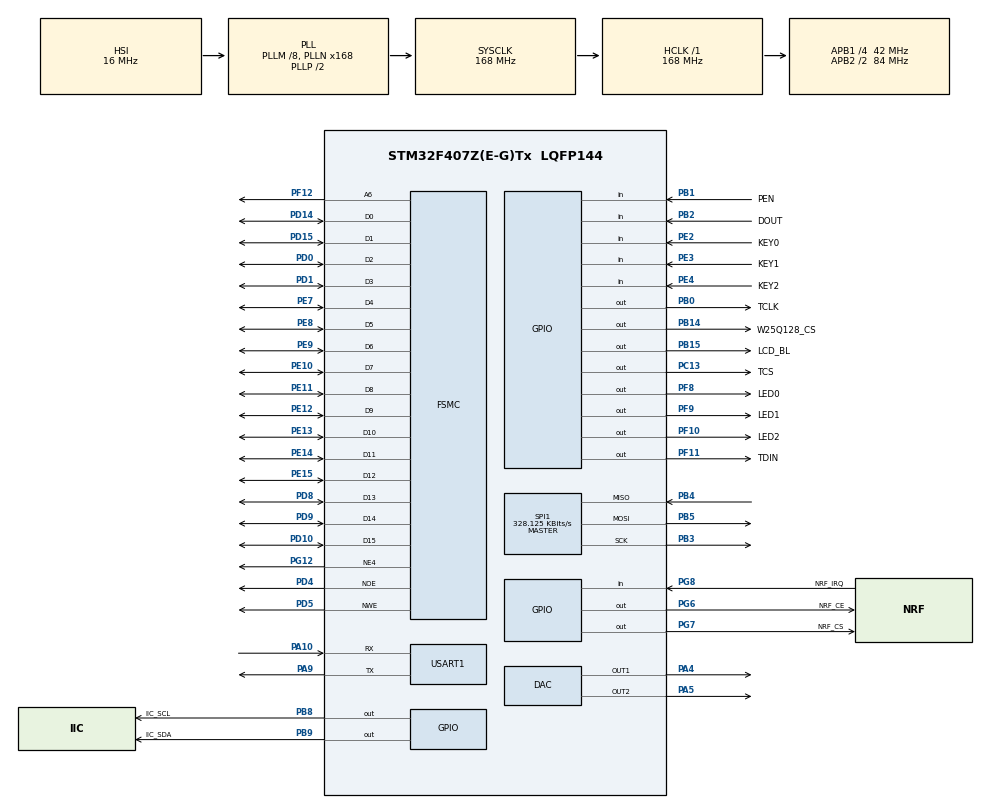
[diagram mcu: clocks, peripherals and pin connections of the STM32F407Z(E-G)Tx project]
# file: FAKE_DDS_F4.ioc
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FSMC.AddressSetupTime1=0x0f
FSMC.BusTurnAroundDuration1=0
FSMC.DataSetupTime1=60
FSMC.ExtendedAddressSetupTime1=9
FSMC.ExtendedBusTurnAroundDuration1=0
FSMC.ExtendedDataSetupTime1=8
FSMC.ExtendedMode1=FSMC_EXTENDED_MODE_ENABLE
Mcu.Family=STM32F4
Mcu.Name=STM32F407Z(E-G)Tx
Mcu.Package=LQFP144
NVIC.PriorityGroup=NVIC_PRIORITYGROUP_2
NVIC.TIM2_IRQn=true\:0\:0\:true\:false\:true\:true\:true
NVIC.TIM3_IRQn=true\:3\:0\:true\:false\:true\:true\:true
PA10.Mode=Asynchronous
PA10.Signal=USART1_RX
PA13.Mode=Serial_Wire
PA13.Signal=SYS_JTMS-SWDIO
PA14.Mode=Serial_Wire
PA14.Signal=SYS_JTCK-SWCLK
PA4.Signal=COMP_DAC1_group
PA5.Signal=COMP_DAC2_group
PA9.Mode=Asynchronous
PA9.Signal=USART1_TX
PB0.GPIO_Label=TCLK
PB0.GPIO_PuPd=GPIO_PULLUP
PB0.GPIO_Speed=GPIO_SPEED_FREQ_VERY_HIGH
PB0.Signal=GPIO_Output
PB1.GPIO_Label=PEN
PB1.GPIO_PuPd=GPIO_PULLUP
PB1.Signal=GPIO_Input
PB14.GPIO_Label=W25Q128_CS
PB14.GPIO_PuPd=GPIO_PULLUP
PB14.GPIO_Speed=GPIO_SPEED_FREQ_VERY_HIGH
PB14.PinState=GPIO_PIN_SET
PB14.Signal=GPIO_Output
PB15.GPIO_Label=LCD_BL
PB15.GPIO_PuPd=GPIO_PULLUP
PB15.GPIO_Speed=GPIO_SPEED_FREQ_MEDIUM
PB15.Signal=GPIO_Output
PB2.GPIO_Label=DOUT
PB2.GPIO_PuPd=GPIO_PULLUP
PB2.Signal=GPIO_Input
PB3.GPIO_PuPd=GPIO_PULLUP
PB3.GPIO_Speed=GPIO_SPEED_FREQ_VERY_HIGH
PB3.Mode=Full_Duplex_Master
PB3.Signal=SPI1_SCK
PB4.GPIO_PuPd=GPIO_PULLUP
PB4.GPIO_Speed=GPIO_SPEED_FREQ_VERY_HIGH
PB4.Mode=Full_Duplex_Master
PB4.Signal=SPI1_MISO
PB5.GPIO_PuPd=GPIO_PULLUP
PB5.GPIO_Speed=GPIO_SPEED_FREQ_VERY_HIGH
PB5.Mode=Full_Duplex_Master
PB5.Signal=SPI1_MOSI
PB8.GPIO_Label=IIC_SCL
PB8.GPIO_PuPd=GPIO_PULLUP
PB8.GPIO_Speed=GPIO_SPEED_FREQ_VERY_HIGH
PB8.Signal=GPIO_Output
PB9.GPIO_Label=IIC_SDA
PB9.GPIO_PuPd=GPIO_PULLUP
PB9.GPIO_Speed=GPIO_SPEED_FREQ_VERY_HIGH
PB9.Signal=GPIO_Output
PC13-ANTI_TAMP.GPIO_Label=TCS
PC13-ANTI_TAMP.GPIO_PuPd=GPIO_NOPULL
PC13-ANTI_TAMP.Signal=GPIO_Output
PD0.GPIO_PuPd=GPIO_PULLUP
PD0.GPIO_Speed_High_Default=GPIO_SPEED_FREQ_VERY_HIGH
PD0.Signal=FSMC_D2_DA2
PD1.GPIO_PuPd=GPIO_PULLUP
PD1.Signal=FSMC_D3_DA3
PD10.GPIO_PuPd=GPIO_PULLUP
PD10.Signal=FSMC_D15_DA15
PD14.GPIO_PuPd=GPIO_PULLUP
PD14.Signal=FSMC_D0_DA0
PD15.GPIO_PuPd=GPIO_PULLUP
PD15.Signal=FSMC_D1_DA1
PD4.GPIO_PuPd=GPIO_PULLUP
PD4.Signal=FSMC_NOE
PD5.GPIO_PuPd=GPIO_PULLUP
PD5.Signal=FSMC_NWE
PD8.GPIO_PuPd=GPIO_PULLUP
PD8.Signal=FSMC_D13_DA13
PD9.GPIO_PuPd=GPIO_PULLUP
PD9.Signal=FSMC_D14_DA14
PE10.GPIO_PuPd=GPIO_PULLUP
PE10.Signal=FSMC_D7_DA7
PE11.GPIO_PuPd=GPIO_PULLUP
PE11.Signal=FSMC_D8_DA8
PE12.GPIO_PuPd=GPIO_PULLUP
PE12.Signal=FSMC_D9_DA9
PE13.GPIO_PuPd=GPIO_PULLUP
PE13.Signal=FSMC_D10_DA10
PE14.GPIO_PuPd=GPIO_PULLUP
PE14.Signal=FSMC_D11_DA11
PE15.GPIO_PuPd=GPIO_PULLUP
PE15.Signal=FSMC_D12_DA12
PE2.GPIO_Label=KEY0
PE2.GPIO_PuPd=GPIO_PULLUP
PE2.Signal=GPIO_Input
PE3.GPIO_Label=KEY1
PE3.GPIO_PuPd=GPIO_PULLUP
PE3.Signal=GPIO_Input
PE4.GPIO_Label=KEY2
PE4.GPIO_PuPd=GPIO_PULLUP
PE4.Signal=GPIO_Input
PE7.GPIO_PuPd=GPIO_PULLUP
PE7.Signal=FSMC_D4_DA4
PE8.GPIO_PuPd=GPIO_PULLUP
PE8.Signal=FSMC_D5_DA5
PE9.GPIO_PuPd=GPIO_PULLUP
PE9.Signal=FSMC_D6_DA6
PF10.GPIO_Label=LED2
PF10.GPIO_PuPd=GPIO_PULLUP
PF10.GPIO_Speed=GPIO_SPEED_FREQ_VERY_HIGH
PF10.PinState=GPIO_PIN_SET
PF10.Signal=GPIO_Output
PF11.GPIO_Label=TDIN
PF11.GPIO_Speed=GPIO_SPEED_FREQ_VERY_HIGH
PF11.Signal=GPIO_Output
PF12.GPIO_PuPd=GPIO_PULLUP
PF12.Signal=FSMC_A6
PF8.GPIO_Label=LED0
PF8.GPIO_PuPd=GPIO_PULLUP
PF8.GPIO_Speed=GPIO_SPEED_FREQ_VERY_HIGH
PF8.PinState=GPIO_PIN_SET
PF8.Signal=GPIO_Output
PF9.GPIO_Label=LED1
PF9.GPIO_PuPd=GPIO_PULLUP
PF9.GPIO_Speed=GPIO_SPEED_FREQ_VERY_HIGH
PF9.PinState=GPIO_PIN_SET
PF9.Signal=GPIO_Output
PG12.GPIO_PuPd=GPIO_PULLUP
PG12.Mode=NorPsramChipSelect4_1
PG12.Signal=FSMC_NE4
PG6.GPIO_Label=NRF_CE
PG6.GPIO_PuPd=GPIO_PULLUP
PG6.GPIO_Speed=GPIO_SPEED_FREQ_VERY_HIGH
PG6.Signal=GPIO_Output
PG7.GPIO_Label=NRF_CS
PG7.GPIO_PuPd=GPIO_PULLUP
PG7.GPIO_Speed=GPIO_SPEED_FREQ_VERY_HIGH
PG7.Signal=GPIO_Output
PG8.GPIO_Label=NRF_IRQ
PG8.GPIO_PuPd=GPIO_PULLUP
PG8.Signal=GPIO_Input
PH0-OSC_IN.Mode=HSE-External-Oscillator
PH0-OSC_IN.Signal=RCC_OSC_IN
PH1-OSC_OUT.Mode=HSE-External-Oscillator
PH1-OSC_OUT.Signal=RCC_OSC_OUT
ProjectManager.HeapSize=0x200
ProjectManager.StackSize=0x400
ProjectManager.TargetToolchain=MDK-ARM V5.27
RCC.48MHZClocksFreq_Value=84000000
RCC.AHBFreq_Value=168000000
RCC.APB1CLKDivider=RCC_HCLK_DIV4
RCC.APB1Freq_Value=42000000
RCC.APB1TimFreq_Value=84000000
RCC.APB2CLKDivider=RCC_HCLK_DIV2
RCC.APB2Freq_Value=84000000
RCC.APB2TimFreq_Value=168000000
RCC.CortexFreq_Value=168000000
RCC.HCLKFreq_Value=168000000
RCC.HSE_VALUE=25000000
RCC.HSI_VALUE=16000000
RCC.LSE_VALUE=32768
RCC.PLLM=8
RCC.PLLN=168
RCC.SYSCLKFreq_VALUE=168000000
RCC.SYSCLKSource=RCC_SYSCLKSOURCE_PLLCLK
RCC.VCOOutputFreq_Value=336000000
SH.COMP_DAC1_group.0=DAC_OUT1,DAC_OUT1
SH.COMP_DAC2_group.0=DAC_OUT2,DAC_OUT2
SH.FSMC_A6.0=FSMC_A6,A6_1
SH.FSMC_D0_DA0.0=FSMC_D0,16b-d1
SH.FSMC_D10_DA10.0=FSMC_D10,16b-d1
SH.FSMC_D11_DA11.0=FSMC_D11,16b-d1
SH.FSMC_D12_DA12.0=FSMC_D12,16b-d1
SH.FSMC_D13_DA13.0=FSMC_D13,16b-d1
SH.FSMC_D14_DA14.0=FSMC_D14,16b-d1
SH.FSMC_D15_DA15.0=FSMC_D15,16b-d1
SH.FSMC_D1_DA1.0=FSMC_D1,16b-d1
SH.FSMC_D2_DA2.0=FSMC_D2,16b-d1
SH.FSMC_D3_DA3.0=FSMC_D3,16b-d1
SH.FSMC_D4_DA4.0=FSMC_D4,16b-d1
SH.FSMC_D5_DA5.0=FSMC_D5,16b-d1
SH.FSMC_D6_DA6.0=FSMC_D6,16b-d1
SH.FSMC_D7_DA7.0=FSMC_D7,16b-d1
SH.FSMC_D8_DA8.0=FSMC_D8,16b-d1
SH.FSMC_D9_DA9.0=FSMC_D9,16b-d1
SH.FSMC_NOE.0=FSMC_NOE,Lcd1
SH.FSMC_NWE.0=FSMC_NWE,Lcd1
SPI1.BaudRatePrescaler=SPI_BAUDRATEPRESCALER_256
SPI1.CLKPhase=SPI_PHASE_2EDGE
SPI1.CLKPolarity=SPI_POLARITY_HIGH
SPI1.CalculateBaudRate=328.125 KBits/s
SPI1.Direction=SPI_DIRECTION_2LINES
SPI1.Mode=SPI_MODE_MASTER
SPI1.VirtualType=VM_MASTER
TIM2.AutoReloadPreload=TIM_AUTORELOAD_PRELOAD_ENABLE
TIM2.Period=8-1
TIM2.Prescaler=21-1
TIM3.Period=100-1
TIM3.Prescaler=8400-1
USART1.VirtualMode=VM_ASYNC
VP_TIM2_VS_ClockSourceINT.Mode=Internal
VP_TIM3_VS_ClockSourceINT.Mode=Internal
board=custom

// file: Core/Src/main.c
/* USER CODE BEGIN Header */
/**
  ******************************************************************************
  * @file           : main.c
  * @brief          : Main program body
  ******************************************************************************
  * @attention
  *
  * <h2><center>&copy; Copyright (c) 2021 STMicroelectronics.
  * All rights reserved.</center></h2>
  *
  * This software component is licensed by ST under BSD 3-Clause license,
  * the "License"; You may not use this file except in compliance with the
  * License. You may obtain a copy of the License at:
  *                        opensource.org/licenses/BSD-3-Clause
  *
  ******************************************************************************
  */
/* USER CODE END Header */
#include "main.h"
#include "dac.h"
#include "spi.h"
#include "tim.h"
#include "usart.h"
#include "gpio.h"
#include "fsmc.h"

/* USER CODE BEGIN Includes */
#include "lcd.h"
#include "touch.h"
#include "24l01.h"
/* USER CODE END Includes */

void SystemClock_Config(void);
/* USER CODE BEGIN PFP */
/* 锟�?娴�?槸鍚�?�?���?��鍩熸寜锟�?? */
u8 TP_CHECK(u16 x0, u16 y0, u16 x1, u16 y1);
void DAC_VAL_Change(void);
void AMP_MUL_Change(void);
/* USER CODE END PFP */

/* USER CODE BEGIN 0 */
extern uint8_t DAC_STA;
extern uint8_t DAC_FRE;
extern uint8_t DAC_VAL;
// extern uint8_t AMP_MUL;
extern uint32_t TimeOffset;
extern uint16_t Wavetable[];
extern uint16_t Sin[];
extern uint16_t pressTime;
extern float FRE_Compensate[];
uint8_t presStatus = 0; //璁板綍瑙︽懜灞忕殑鎸変笅�?��喌锛�?敤浜庨槻姝㈣繛锟�??
uint16_t PRE_DAC_VAL;
uint8_t RX_BUF = 0;
uint8_t RNF24L01_STA = 0; //RNF24L01_STA״̬ 0-δ���� 1-���ͳɹ� 2-����ʧ��
int8_t DAC_CD = 1;       //DAC_CD�ı䷽��
// uint8_t PRE_AMP_MUL;
/* USER CODE END 0 */

int main(void)
{
  /* USER CODE BEGIN 1 */
  uint8_t LAST_RNF24L01_STA = 0;
	uint8_t i,temp;
  // PRE_AMP_MUL = AMP_MUL;
  /* USER CODE END 1 */

  /* MCU Configuration--------------------------------------------------------*/

  /* Reset of all peripherals, Initializes the Flash interface and the Systick. */
  HAL_Init();

  /* Configure the system clock */
  SystemClock_Config();

  /* Initialize all configured peripherals */
  MX_GPIO_Init();
  MX_DAC_Init();
  MX_USART1_UART_Init();
  MX_TIM2_Init();
  MX_FSMC_Init();
  MX_TIM3_Init();
  MX_SPI1_Init();
  /* USER CODE BEGIN 2 */

  DAC_VAL_Change();
  HAL_TIM_Base_Start_IT(&htim2);
  HAL_TIM_Base_Start_IT(&htim3);
  HAL_DAC_Start(&hdac, DAC_CHANNEL_1);
  HAL_DAC_Start(&hdac, DAC_CHANNEL_2);
  HAL_DAC_SetValue(&hdac, DAC_CHANNEL_2, DAC_ALIGN_12B_R, 1750);
  delay_init(168);
  LCD_Init();
	tp_dev.init();
	NRF24L01_Init();

	PRE_DAC_VAL = DAC_VAL;
  POINT_COLOR = RED;
  //鏄剧ず棰戠巼淇℃�?
  //     (28,40)                     (68,40)                                      (192,40)    (202,44)
  //       (32,48) - (44,49)                    DAC_FRE    ()                          (196,48)    +     (208,49)
  //                   (48,56)                                 (172,56)                     (203,52)   (212,56)
  LCD_ShowString(68, 40, 104, 16, 16, (uint8_t *)"DAC_FRE:  KHz");
  LCD_Fill(28,40,48,56,GRAY);
  LCD_Fill(32,48,44,49,GREEN);
  LCD_Fill(192,40,212,56,GRAY);
  LCD_Fill(196,48,208,49,RED);
  LCD_Fill(202,44,203,52,RED);
  // LCD_ShowxNum(132,40,12,2,16,0);

  //鏄剧ず杈撳嚭骞呭害淇℃伅
  LCD_ShowString(64, 90, 112, 16, 16, (uint8_t *)"DAC_VAL:    mV");
  LCD_Fill(28,90,48,106,GRAY);
  LCD_Fill(32,98,44,99,GREEN);
  LCD_Fill(192,90,212,106,GRAY);
  LCD_Fill(196,98,208,99,RED);
  LCD_Fill(202,94,203,102,RED);
  // LCD_ShowxNum(128,90,1122,4,16,0);

  LCD_Fill(40,140,200,170,GREEN);
  LCD_ShowString(72, 147, 168, 163, 16, (uint8_t *)"Start Detect");

	//��ʾ24L01״̬ ���л��ɷ���ģʽ
	LCD_ShowString(20, 220, 150, 16, 16,(uint8_t *)"NRF24L01: ");
  while(!(RNF24L01_STA = !NRF24L01_Check()))
  LCD_ShowString(100,220,60,16,16,(uint8_t *)"Error");
	NRF24L01_TX_Mode();

	temp = FRE_Compensate[0];
	for(i=0;i<40;i++) FRE_Compensate[i] = temp/FRE_Compensate[i];
  // HAL_UART_Receive_IT(&huart1,RxBuf,sizeof(RxBuf));
  /* USER CODE END 2 */

  /* Infinite loop */
  while (1)
  {

    /* USER CODE BEGIN 3 */

    //ɨ�败����
    tp_dev.scan(0);
    if (tp_dev.sta & TP_PRES_DOWN)
    {
      presStatus = 1;
      if (pressTime++ == 0 || (pressTime > 200 && pressTime%20 == 0))
      {
        //鎸�?笅DAC_FRE锟�? '-'
        if(TP_CHECK(28,40,48,56)){
          DAC_FRE = DAC_FRE==1?1:DAC_FRE-1;
        }
        //鎸�?笅DAC_FRE锟�? '+'
        if(TP_CHECK(192,40,212,56)) {
          DAC_FRE = DAC_FRE==40?40:DAC_FRE+1;
        }
        //鎸�?笅DAC_VAL锟�? '-'
        if(TP_CHECK(28,90,48,106)) {
          PRE_DAC_VAL = PRE_DAC_VAL==3?3:PRE_DAC_VAL-1;
        }
        //鎸�?笅DAC_VAL锟�? '+'
        if(TP_CHECK(192,90,212,106)) {
          PRE_DAC_VAL = PRE_DAC_VAL==120?120:PRE_DAC_VAL+1;
        }
        if(TP_CHECK(40,140,200,170)) {
          if(DAC_STA) {
            LCD_Fill(40,140,200,170,GREEN);
            LCD_ShowString(72, 147, 168, 163, 16, (uint8_t *)"Start Detect");
          }else {
            POINT_COLOR = GREEN;
            LCD_Fill(40,140,200,170,RED);
            LCD_ShowString(76, 147, 164, 163, 16, (uint8_t *)"Stop Detect");
            POINT_COLOR = RED;
          }
					DAC_STA = !DAC_STA;
        }
      }
    }
    else {
      presStatus = 0;
			pressTime = 0;
			if(PRE_DAC_VAL != DAC_VAL) {
				DAC_VAL = PRE_DAC_VAL;
				DAC_VAL_Change();
			}
    }

    LCD_ShowxNum(132,40,DAC_FRE,2,16,0);
    LCD_ShowxNum(128,90,PRE_DAC_VAL,4,16,0);

    if(RNF24L01_STA != LAST_RNF24L01_STA){
			LCD_Fill(100,220,180,240,WHITE);
			LAST_RNF24L01_STA = RNF24L01_STA;

    if(RNF24L01_STA==TX_OK)
	    LCD_ShowString(100,220,80,16,16,(uint8_t *)"Sending...");
    else
      LCD_ShowString(100,220,80,16,16,(uint8_t *)"Send Error");
		}
  }
  /* USER CODE END 3 */
}

void SystemClock_Config(void)
{
  RCC_OscInitTypeDef RCC_OscInitStruct = {0};
  RCC_ClkInitTypeDef RCC_ClkInitStruct = {0};

  /** Configure the main internal regulator output voltage
  */
  __HAL_RCC_PWR_CLK_ENABLE();
  __HAL_PWR_VOLTAGESCALING_CONFIG(PWR_REGULATOR_VOLTAGE_SCALE1);
  /** Initializes the RCC Oscillators according to the specified parameters
  * in the RCC_OscInitTypeDef structure.
  */
  RCC_OscInitStruct.OscillatorType = RCC_OSCILLATORTYPE_HSI;
  RCC_OscInitStruct.HSIState = RCC_HSI_ON;
  RCC_OscInitStruct.HSICalibrationValue = RCC_HSICALIBRATION_DEFAULT;
  RCC_OscInitStruct.PLL.PLLState = RCC_PLL_ON;
  RCC_OscInitStruct.PLL.PLLSource = RCC_PLLSOURCE_HSI;
  RCC_OscInitStruct.PLL.PLLM = 8;
  RCC_OscInitStruct.PLL.PLLN = 168;
  RCC_OscInitStruct.PLL.PLLP = RCC_PLLP_DIV2;
  RCC_OscInitStruct.PLL.PLLQ = 4;
  if (HAL_RCC_OscConfig(&RCC_OscInitStruct) != HAL_OK)
  {
    Error_Handler();
  }
  /** Initializes the CPU, AHB and APB buses clocks
  */
  RCC_ClkInitStruct.ClockType = RCC_CLOCKTYPE_HCLK|RCC_CLOCKTYPE_SYSCLK
                              |RCC_CLOCKTYPE_PCLK1|RCC_CLOCKTYPE_PCLK2;
  RCC_ClkInitStruct.SYSCLKSource = RCC_SYSCLKSOURCE_PLLCLK;
  RCC_ClkInitStruct.AHBCLKDivider = RCC_SYSCLK_DIV1;
  RCC_ClkInitStruct.APB1CLKDivider = RCC_HCLK_DIV4;
  RCC_ClkInitStruct.APB2CLKDivider = RCC_HCLK_DIV2;

  if (HAL_RCC_ClockConfig(&RCC_ClkInitStruct, FLASH_LATENCY_5) != HAL_OK)
  {
    Error_Handler();
  }
}

/* USER CODE BEGIN 4 */
u8 TP_CHECK(u16 x0, u16 y0, u16 x1, u16 y1)
{
	return (tp_dev.x[0] > x0 && tp_dev.y[0] > y0 && tp_dev.x[0] < x1 && tp_dev.y[0] < y1);
}
void DAC_VAL_Change(void) {
  uint16_t i;
	uint16_t * Wavetable_p = Wavetable;
  for(i=0;i<5000;i++) {
		*(Wavetable_p++) = ((int32_t)Sin[i]-2048)*DAC_VAL/100+2048;
  }
}
// void AMP_MUL_Change(void) {
//   uint16_t i;
//   for(i=0;i<10;i++) {
//     Wavetable[i] = ((int32_t)Sin[i]-2028)*DAC_VAL*AMP_MUL/1000+2028;
//   }
// }
/* USER CODE END 4 */

void Error_Handler(void)
{
  __disable_irq();
  while (1)
  {
  }
}

/************************ (C) COPYRIGHT STMicroelectronics *****END OF FILE****/
